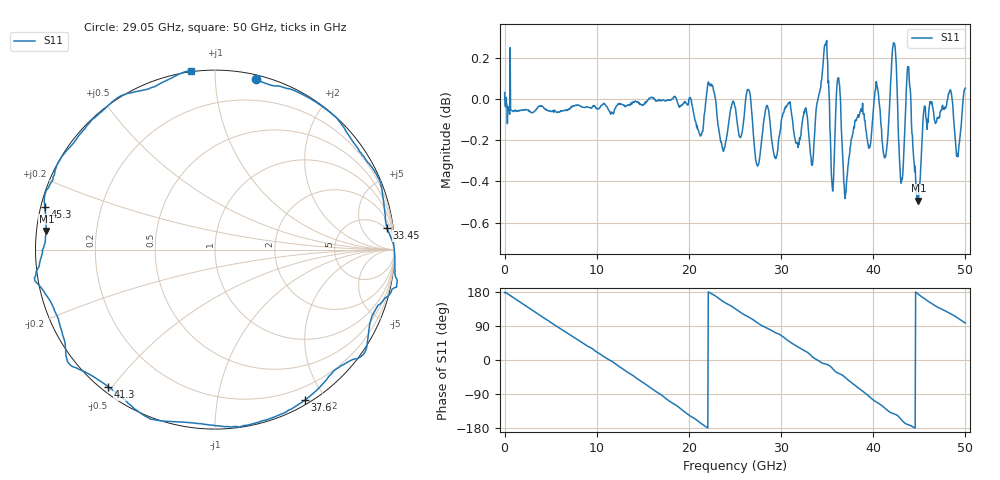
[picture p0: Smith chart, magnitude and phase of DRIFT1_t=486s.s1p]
!Created with skrf (http://scikit-rf.org).
# Hz S RI R 50.0
!freq ReS11 ImS11
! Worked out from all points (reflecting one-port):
!   1001 points, 300 kHz to 50 GHz, reference 50 ohm
!   lowest |S11| = -0.5 dB at 44.9 GHz (marker M1), VSWR 35.22, Z = 1.42 + j2.76 ohm
!   phase of S11 starts at 178 deg and turns -800 deg over the sweep
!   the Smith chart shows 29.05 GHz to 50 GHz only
!   S11 on the Smith chart (normalised r, x): 29.05 GHz: 0.03, +1.27; 33.45 GHz: 4, +15; 37.6 GHz: 0.05, -1.76; 41.3 GHz: 0.02, -0.49; 45.3 GHz: 0.01, +0.12; 50 GHz: -0.01, +0.87
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300000  -1.003 0.0402
1.75029e9  -0.8744 0.4723
3.650278e9  -0.5086 0.8562
6.250262e9  0.174 0.978
7.950252e9  0.5912 0.8026
9.850241e9  0.9138 0.3948
1.250022e10  0.9468 -0.3143
1.400022e10  0.7406 -0.6698
1.59002e10  0.2765 -0.9621
1.875019e10  -0.5274 -0.8478
2.020018e10  -0.8544 -0.5191
2.205017e10  -1.009 -0.0133
2.500015e10  -0.7158 0.6918
2.660014e10  -0.3732 0.9318
2.905013e10  0.2258 0.9487
3.125011e10  0.7217 0.6746
3.34501e10  0.9589 0.1212
3.500009e10  1.002 -0.2123
3.750008e10  0.5278 -0.8179
3.760007e10  0.5025 -0.8384
3.910007e10  0.055 -0.9866
4.130005e10  -0.5953 -0.7643
4.245005e10  -0.8269 -0.6034
4.375004e10  -1.004 -0.1701
4.490003e10  -0.939 0.1042
4.530003e10  -0.9479 0.2377
4.715002e10  -0.7295 0.6696
5e10  -0.135 0.9971
